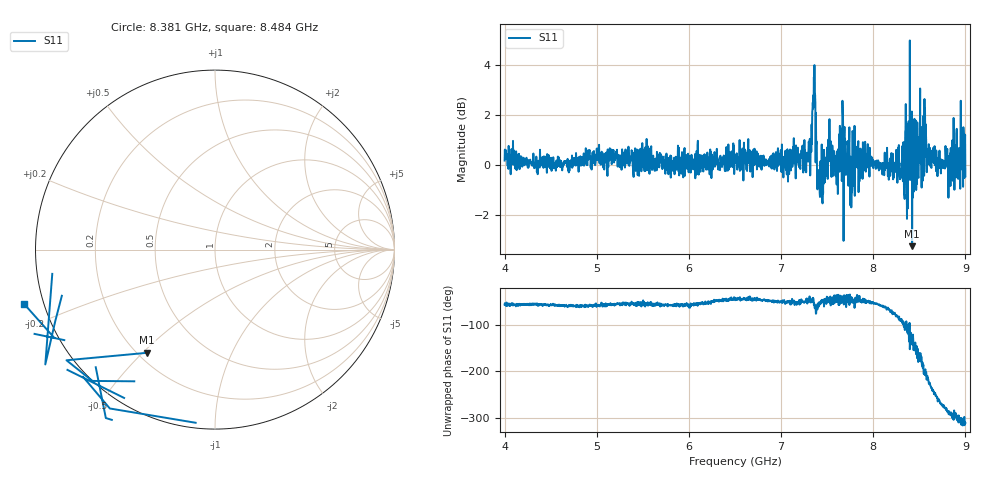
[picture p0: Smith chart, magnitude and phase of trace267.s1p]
! Created with skrf 1.8.0 (http://scikit-rf.org).
# Hz S RI R 50.0
!freq ReS11 ImS11
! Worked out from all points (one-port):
!   1601 points, 4 GHz to 9 GHz, reference 50 ohm
!   lowest |S11| = -3.3 dB at 8.422 GHz (marker M1), VSWR 5.41, Z = 11.8 - j25.8 ohm
!   |S11| at or under -10 dB: nowhere
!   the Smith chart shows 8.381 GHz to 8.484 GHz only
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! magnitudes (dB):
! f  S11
! 4 GHz  0.2
! 4.625 GHz  -0.2
! 5.25 GHz  -0.1
! 5.875 GHz  0.2
! 6.5 GHz  0.2
! 7.125 GHz  0.2
! 7.294 GHz  0.1
! 7.356 GHz  3.5
! 7.366 GHz  2.3
! 7.412 GHz  -0.9
! 7.538 GHz  1.0
! 7.609 GHz  0.3
! 7.65 GHz  1.4
! 7.75 GHz  -0.6
! 7.769 GHz  -1.1
! 7.8 GHz  -1.2
! 7.928 GHz  0.2
! 8.316 GHz  0.8
! 8.375 GHz  -1.7
! 8.422 GHz  -3.3
! 8.447 GHz  1.9
! 8.459 GHz  -1.0
! 8.475 GHz  -0.8
! 8.553 GHz  -0.4
! 8.606 GHz  0.0
! 8.841 GHz  0.7
! 8.972 GHz  0.3
! 9 GHz  -0.5
